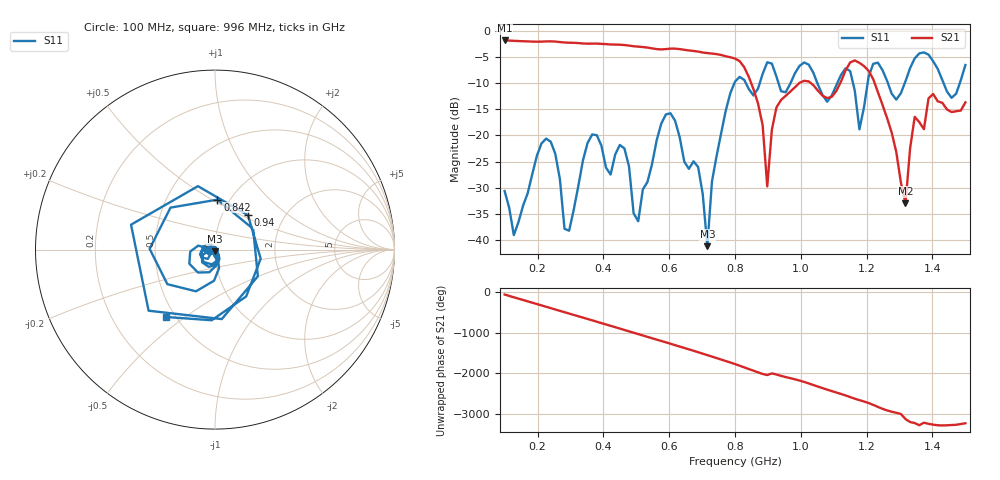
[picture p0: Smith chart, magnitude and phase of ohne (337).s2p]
! NanoVNA-App
! Date: 2025-09-25 14:23:25
! Start: 100MHz Stop: 1,5GHz Points: 101
! S-Parameter data: F S11 S21 S12 S22
# Hz S RI R 50
!  Frequency  S11_Real  S11_Imag  S21_Real  S21_Imag  S12_Real  S12_Imag  S22_Real  S22_Imag
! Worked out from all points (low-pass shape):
!   101 points, 100 MHz to 1.5 GHz, reference 50 ohm
!   highest |S21| = -1.79 dB at 100 MHz (marker M1); lowest = -33.0 dB at 1.318 GHz (marker M2)
!   |S21| within 3 dB of the highest: start of sweep to 770.6 MHz
!   lowest |S11| = -41.2 dB at 716 MHz (marker M3), VSWR 1.02, Z = 49.8 - j0.854 ohm
!   |S11| at or under -10 dB: start of sweep to 798 MHz; 833.2 MHz to 875 MHz (41.86 MHz wide, 4.9 % of centre); 1.05 GHz to 1.111 GHz (60.21 MHz wide, 5.57 % of centre) (the widest 3 of 7)
!   S12 and S22 are empty: the file has one direction only
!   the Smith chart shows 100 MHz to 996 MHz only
!   S11 on the Smith chart (normalised r, x): 100 MHz: 0.94, -0.01; 842 MHz: 0.88, +0.53; 940 MHz: 1.32, +0.55; 996 MHz: 0.45, -0.43
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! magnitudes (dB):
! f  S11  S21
! 100 MHz  -30.6  -1.8
! 128 MHz  -39.1  -1.9
! 226 MHz  -20.6  -2.0
! 296 MHz  -38.2  -2.2
! 338 MHz  -24.8  -2.4
! 464 MHz  -22.5  -2.7
! 506 MHz  -36.4  -3.0
! 576 MHz  -17.7  -3.5
! 688 MHz  -26.0  -3.9
! 716 MHz  -41.2  -4.2
! 800 MHz  -9.7  -5.3
! 842 MHz  -11.1  -8.8
! 898 MHz  -6.0  -29.8
! 940 MHz  -11.5  -13.2
! 996 MHz  -6.7  -9.9
! 1.038 GHz  -8.0  -10.4
! 1.178 GHz  -18.8  -6.1
! 1.22 GHz  -6.3  -9.2
! 1.276 GHz  -12.0  -19.4
! 1.318 GHz  -9.6  -33.0
! 1.346 GHz  -5.2  -16.4
! 1.5 GHz  -6.5  -13.6
